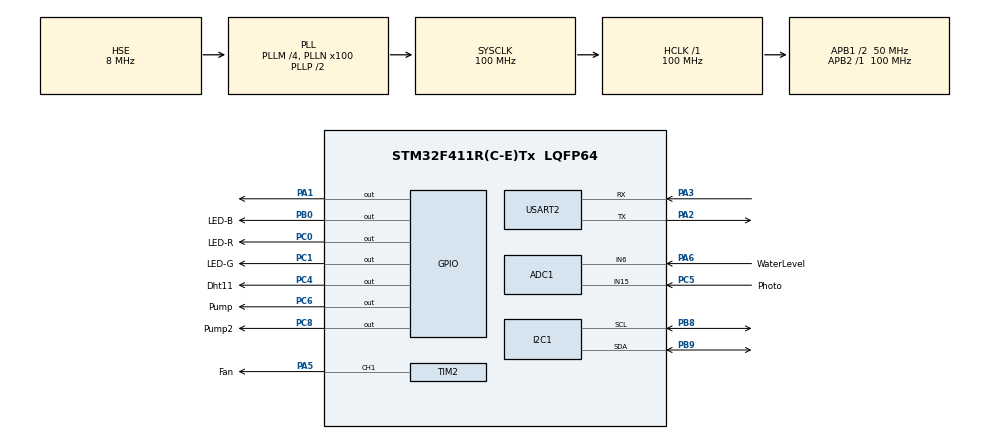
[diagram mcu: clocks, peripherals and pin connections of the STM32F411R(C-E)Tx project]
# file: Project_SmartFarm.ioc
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ADC1.Channel-1\#ChannelRegularConversion=ADC_CHANNEL_15
ADC1.Channel-2\#ChannelRegularConversion=ADC_CHANNEL_6
ADC1.ContinuousConvMode=ENABLE
ADC1.DMAContinuousRequests=ENABLE
ADC1.NbrOfConversion=2
ADC1.NbrOfConversionFlag=1
ADC1.Rank-1\#ChannelRegularConversion=1
ADC1.Rank-2\#ChannelRegularConversion=2
ADC1.SamplingTime-1\#ChannelRegularConversion=ADC_SAMPLETIME_144CYCLES
ADC1.SamplingTime-2\#ChannelRegularConversion=ADC_SAMPLETIME_144CYCLES
ADC1.master=1
Dma.ADC1.0.Direction=DMA_PERIPH_TO_MEMORY
Dma.ADC1.0.FIFOMode=DMA_FIFOMODE_DISABLE
Dma.ADC1.0.Instance=DMA2_Stream0
Dma.ADC1.0.MemDataAlignment=DMA_MDATAALIGN_HALFWORD
Dma.ADC1.0.MemInc=DMA_MINC_ENABLE
Dma.ADC1.0.Mode=DMA_NORMAL
Dma.ADC1.0.PeriphDataAlignment=DMA_PDATAALIGN_HALFWORD
Dma.ADC1.0.PeriphInc=DMA_PINC_DISABLE
Dma.ADC1.0.Priority=DMA_PRIORITY_LOW
Dma.Request0=ADC1
Mcu.Family=STM32F4
Mcu.Name=STM32F411R(C-E)Tx
Mcu.Package=LQFP64
NVIC.ADC_IRQn=true\:2\:0\:true\:false\:true\:true\:true\:true
NVIC.DMA2_Stream0_IRQn=true\:0\:0\:false\:false\:true\:false\:true\:true
NVIC.PriorityGroup=NVIC_PRIORITYGROUP_4
NVIC.TIM3_IRQn=true\:14\:0\:true\:false\:true\:true\:true\:true
NVIC.USART2_IRQn=true\:0\:0\:false\:false\:true\:true\:true\:true
PA1.Signal=GPIO_Output
PA13.Mode=Serial_Wire
PA13.Signal=SYS_JTMS-SWDIO
PA14.Mode=Serial_Wire
PA14.Signal=SYS_JTCK-SWCLK
PA2.Mode=Asynchronous
PA2.Signal=USART2_TX
PA3.Mode=Asynchronous
PA3.Signal=USART2_RX
PA5.GPIO_Label=Fan
PA5.GPIO_Speed=GPIO_SPEED_FREQ_HIGH
PA5.Signal=S_TIM2_CH1_ETR
PA6.GPIO_Label=WaterLevel
PA6.Signal=ADCx_IN6
PB0.GPIO_Label=LED-B
PB0.Signal=GPIO_Output
PB8.Mode=I2C
PB8.Signal=I2C1_SCL
PB9.Mode=I2C
PB9.Signal=I2C1_SDA
PC0.GPIO_Label=LED-R
PC0.Signal=GPIO_Output
PC1.GPIO_Label=LED-G
PC1.Signal=GPIO_Output
PC4.GPIO_Label=Dht11
PC4.GPIO_Speed=GPIO_SPEED_FREQ_HIGH
PC4.Signal=GPIO_Output
PC5.GPIO_Label=Photo
PC5.Signal=ADCx_IN15
PC6.GPIO_Label=Pump
PC6.Signal=GPIO_Output
PC8.GPIO_Label=Pump2
PC8.Signal=GPIO_Output
PH0\ -\ OSC_IN.Mode=HSE-External-Oscillator
PH0\ -\ OSC_IN.Signal=RCC_OSC_IN
PH1\ -\ OSC_OUT.Mode=HSE-External-Oscillator
PH1\ -\ OSC_OUT.Signal=RCC_OSC_OUT
ProjectManager.HeapSize=0x200
ProjectManager.StackSize=0x400
ProjectManager.TargetToolchain=STM32CubeIDE
RCC.48MHZClocksFreq_Value=50000000
RCC.AHBFreq_Value=100000000
RCC.APB1CLKDivider=RCC_HCLK_DIV2
RCC.APB1Freq_Value=50000000
RCC.APB1TimFreq_Value=100000000
RCC.APB2Freq_Value=100000000
RCC.APB2TimFreq_Value=100000000
RCC.CortexFreq_Value=100000000
RCC.HCLKFreq_Value=100000000
RCC.HSE_VALUE=8000000
RCC.HSI_VALUE=16000000
RCC.LSE_VALUE=32768
RCC.PLLM=4
RCC.PLLN=100
RCC.PLLSourceVirtual=RCC_PLLSOURCE_HSE
RCC.RCC_RTC_Clock_Source=RCC_RTCCLKSOURCE_LSI
RCC.RCC_RTC_Clock_SourceVirtual=RCC_RTCCLKSOURCE_LSI
RCC.SYSCLKFreq_VALUE=100000000
RCC.SYSCLKSource=RCC_SYSCLKSOURCE_PLLCLK
RCC.VCOOutputFreq_Value=200000000
SH.ADCx_IN15.0=ADC1_IN15,IN15
SH.ADCx_IN6.0=ADC1_IN6,IN6
SH.S_TIM2_CH1_ETR.0=TIM2_CH1,PWM Generation1 CH1
TIM11.Prescaler=100-1
TIM2.Channel-PWM\ Generation1\ CH1=TIM_CHANNEL_1
TIM2.Period=65535
TIM2.Prescaler=0
TIM3.Period=10000-1
TIM3.Prescaler=10000-1
USART2.VirtualMode=VM_ASYNC
VP_TIM11_VS_ClockSourceINT.Mode=Enable_Timer
VP_TIM2_VS_ClockSourceINT.Mode=Internal
VP_TIM3_VS_ClockSourceINT.Mode=Internal
board=custom

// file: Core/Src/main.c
/* USER CODE BEGIN Header */
/**
 ******************************************************************************
 * @file           : main.c
 * @brief          : Main program body
 ******************************************************************************
 * @attention
 *
 * Copyright (c) 2025 STMicroelectronics.
 * All rights reserved.
 *
 * This software is licensed under terms that can be found in the LICENSE file
 * in the root directory of this software component.
 * If no LICENSE file comes with this software, it is provided AS-IS.
 *
 ******************************************************************************
 */
/* USER CODE END Header */
#include "main.h"
#include "adc.h"
#include "dma.h"
#include "i2c.h"
#include "tim.h"
#include "usart.h"
#include "gpio.h"

/* USER CODE BEGIN Includes */

#include "dht.h"
#include "I2C_LCD.h"

/* USER CODE END Includes */

/* USER CODE BEGIN PD */

#ifdef __GNUC__
/* With GCC, small printf (option LD Linker->Libraries->Small printf
     set to 'Yes') calls __io_putchar() */
#define PUTCHAR_PROTOTYPE int __io_putchar(int ch)
#else
#define PUTCHAR_PROTOTYPE int fputc(int ch, FILE *f)
#endif /* __GNUC__ */
PUTCHAR_PROTOTYPE
{
  /* Place your implementation of fputc here */
  /* e.g. write a character to the EVAL_COM1 and Loop until the end of transmission */
  HAL_UART_Transmit(&huart2, (uint8_t *)&ch, 1, 0xFFFF);

  return ch;
}

/* USER CODE END PD */

/* USER CODE BEGIN PV */

DHT11 dht;
char lcdBuffer[16];
volatile uint16_t adcValue[2];

#define Light       (adcValue[0])
#define WaterLevel  (adcValue[1])

// 물 수위 설정 전 코드
// volatile uint16_t adcValue;
// volatile uint16_t adcValue2;

uint8_t adcFlag = 0;
uint8_t rxData;
uint64_t WaterPumpCounter = 0;

/* USER CODE END PV */

void SystemClock_Config(void);
/* USER CODE BEGIN PFP */

void updateLCD(void)
{
  lcdCommand(CLEAR_DISPLAY);
  HAL_Delay(2);  // Clear 명령 후 잠시 대기

  // 첫 번째 줄: 온도와 습도
  sprintf(lcdBuffer, "T:%dC H:%d%%", dht.temperature, dht.humidity);
  moveCursor(0, 0);
  lcdString(lcdBuffer);
  HAL_Delay(1);

  // 두 번째 줄: 조도값
  sprintf(lcdBuffer, "Light:%d", Light); // 값바꿔줌
  moveCursor(1, 0);
  lcdString(lcdBuffer);
}

void DHT_Reset(); // 온습도 사이클 조정
void DHT_Reset()
{
  dht11GpioMode(&dht, OUTPUT);
  HAL_GPIO_WritePin(dht.port, dht.pin, GPIO_PIN_SET);
}

// ADC 변환 완료 콜백
void HAL_ADC_ConvCpltCallback(ADC_HandleTypeDef* hadc)
{
  if(hadc->Instance == ADC1)
  {
    adcFlag = 1;  // ADC 변환 완료 플래그 설정
  }
}

void HAL_UART_RxCpltCallback(UART_HandleTypeDef *huart)
{
  if(huart->Instance == USART2)
  {
    //HAL_UART_Receive_IT(&huart2, &rxData, sizeof(rxData));
    //HAL_UART_Transmit_IT(&huart2, &rxData, sizeof(rxData));

    if(rxData == 'L')
    {
      HAL_GPIO_WritePin(LED_R_GPIO_Port, LED_R_Pin, 1);
      HAL_GPIO_WritePin(LED_G_GPIO_Port, LED_G_Pin, 1);
      HAL_GPIO_WritePin(LED_B_GPIO_Port, LED_B_Pin, 1);
    }

    if(rxData == 'l')
    {
      HAL_GPIO_WritePin(LED_R_GPIO_Port, LED_R_Pin, 0);
      HAL_GPIO_WritePin(LED_G_GPIO_Port, LED_G_Pin, 0);
      HAL_GPIO_WritePin(LED_B_GPIO_Port, LED_B_Pin, 0);
    }

    if(rxData == 'P')
    {
      HAL_GPIO_WritePin(Pump_GPIO_Port, Pump_Pin, 1);
      HAL_GPIO_WritePin(Pump2_GPIO_Port, Pump2_Pin, 0);
//      HAL_TIM_Base_Start_IT(&htim3);
    }

    if(rxData == 'p')
    {
//      __HAL_TIM_SET_COUNTER(&htim3, 0);
//      HAL_TIM_Base_Stop_IT(&htim3);
      HAL_GPIO_WritePin(Pump_GPIO_Port, Pump_Pin, 0);
      HAL_GPIO_WritePin(Pump2_GPIO_Port, Pump2_Pin, 0);
    }

    if(rxData == 'F')
    {
      TIM2->CCR1 = 65535;
    }

    if(rxData == 'f')
    {
      TIM2->CCR1 = 0;
    }

    if(rxData == 'E')
    {
      HAL_GPIO_WritePin(LED_R_GPIO_Port, LED_R_Pin, 1);
      HAL_GPIO_WritePin(LED_G_GPIO_Port, LED_G_Pin, 0);
      HAL_GPIO_WritePin(LED_B_GPIO_Port, LED_B_Pin, 0);
    }

    HAL_UART_Receive_IT(&huart2, &rxData, sizeof(rxData));
  }
}

//  void HAL_TIM_PeriodElapsedCallback(TIM_HandleTypeDef *htim)
//  {
//    if (htim->Instance == TIM3)//모터 회전하라는 타이머 플레그가 세워지면
//    {
//
//      if(WaterPumpCounter >= 3)
//      {
//        WaterPumpCounter = 0;
//        __HAL_TIM_SET_COUNTER(&htim3, 0);
//        HAL_TIM_Base_Stop_IT(&htim3);
//        HAL_GPIO_WritePin(Pump_GPIO_Port, Pump_Pin, 0);
//      }
//      WaterPumpCounter++;
//    }
//  }

/* USER CODE END PFP */

int main(void)
{

  /* MCU Configuration--------------------------------------------------------*/

  /* Reset of all peripherals, Initializes the Flash interface and the Systick. */
  HAL_Init();

  /* Configure the system clock */
  SystemClock_Config();

  /* Initialize all configured peripherals */
  MX_GPIO_Init();
  MX_DMA_Init();
  MX_USART2_UART_Init();
  MX_ADC1_Init();
  MX_I2C1_Init();
  MX_TIM2_Init();
  MX_TIM11_Init();
  MX_TIM3_Init();
  /* USER CODE BEGIN 2 */
    // 마이크로초 타이머 시작
    //  HAL_TIM_Base_Start(&htim11);
    //  HAL_Delay(100);  // 타이머 안정화 대기

    // LCD 초기화 전 충분한 대기시간
    //HAL_Delay(1000);
    lcdInit();
    HAL_Delay(200);
    // LCD 초기화 후 충분히 대기

    // LCD 테스트
    lcdCommand(CLEAR_DISPLAY);
    HAL_Delay(2);
    moveCursor(0, 0);
    lcdString("System Start...");
    HAL_Delay(1000); // 딜레이 빼면 안됨..

    // 온습도센서 Init , 초기화 및 GPIO 설정
    dht11Init(&dht, GPIOC, GPIO_PIN_4);

    // ADC로 저항값을 DMA로 받기위한 대기상태
    HAL_ADC_Start_DMA(&hadc1, (uint32_t *)adcValue, 2);
    //HAL_ADC_Start_DMA(&hadc1, (uint32_t*)&adcValue, 1);

    // 유아트 대기상태 ( 버튼 클릭시 유아트 필요 )
    HAL_UART_Receive_IT(&huart2, &rxData, sizeof(rxData));

    // TIM3 PWM 시작 (DC 팬 모터용)
    HAL_TIM_PWM_Start(&htim2, TIM_CHANNEL_1);

    // __HAL_TIM_SET_COMPARE(&htim2, TIM_CHANNEL_1, 60000);

    // printf("adcValue1 -> %d\r\n", adcValue[0]);
    // printf("adcvalue2 -> %d\r\n\n", adcValue[1]);

  /* USER CODE END 2 */

  /* Infinite loop */
  /* USER CODE BEGIN WHILE */

    dht11GpioMode(&dht, OUTPUT);
    HAL_GPIO_WritePin(dht.port, dht.pin, GPIO_PIN_SET);
    HAL_Delay(1000); // DHT11 안정화 대기

    while (1)
    {
      // DHT11 데이터 읽기 시도
      if(dht11Read(&dht))
      {
        // UART로 온습도와 조도값 전송
        printf("%d, %d, %d\n",
               dht.temperature,
               dht.humidity,
               Light);

        // LCD 업데이트
        updateLCD();
//        if(dht.temperature > 28)
//        {
//          TIM2->CCR1 = 65535;
//        }
//
//
//        if (Light < 1000)
//        {
//          HAL_GPIO_WritePin(LED_B_GPIO_Port, LED_B_Pin, 1);
//
//          HAL_GPIO_WritePin(Pump_GPIO_Port, Pump_Pin, 1);
//          HAL_TIM_Base_Start_IT(&htim3);
//
//        }
        // 온습도 측정 포트설정 리셋
        DHT_Reset();
        HAL_Delay(2000);  // 2초 주기로 반복
        // ADC로 저항값을 DMA로 '다시' 받기위한 대기상태
        HAL_ADC_Start_DMA(&hadc1, (uint32_t *)adcValue, 2);
        //HAL_ADC_Start_DMA(&hadc1, (uint32_t*)&adcValue, 1);
      }

      else
      {
        printf("DHT11 Read Failed\r\n");
        // DHT11 리셋을 위한 처리
        DHT_Reset();
        HAL_Delay(1000);
      }

    /* USER CODE END WHILE */

    }
}

void SystemClock_Config(void)
{
  RCC_OscInitTypeDef RCC_OscInitStruct = {0};
  RCC_ClkInitTypeDef RCC_ClkInitStruct = {0};

  /** Configure the main internal regulator output voltage
  */
  __HAL_RCC_PWR_CLK_ENABLE();
  __HAL_PWR_VOLTAGESCALING_CONFIG(PWR_REGULATOR_VOLTAGE_SCALE1);

  /** Initializes the RCC Oscillators according to the specified parameters
  * in the RCC_OscInitTypeDef structure.
  */
  RCC_OscInitStruct.OscillatorType = RCC_OSCILLATORTYPE_HSE;
  RCC_OscInitStruct.HSEState = RCC_HSE_ON;
  RCC_OscInitStruct.PLL.PLLState = RCC_PLL_ON;
  RCC_OscInitStruct.PLL.PLLSource = RCC_PLLSOURCE_HSE;
  RCC_OscInitStruct.PLL.PLLM = 4;
  RCC_OscInitStruct.PLL.PLLN = 100;
  RCC_OscInitStruct.PLL.PLLP = RCC_PLLP_DIV2;
  RCC_OscInitStruct.PLL.PLLQ = 4;
  if (HAL_RCC_OscConfig(&RCC_OscInitStruct) != HAL_OK)
  {
    Error_Handler();
  }

  /** Initializes the CPU, AHB and APB buses clocks
  */
  RCC_ClkInitStruct.ClockType = RCC_CLOCKTYPE_HCLK|RCC_CLOCKTYPE_SYSCLK
                              |RCC_CLOCKTYPE_PCLK1|RCC_CLOCKTYPE_PCLK2;
  RCC_ClkInitStruct.SYSCLKSource = RCC_SYSCLKSOURCE_PLLCLK;
  RCC_ClkInitStruct.AHBCLKDivider = RCC_SYSCLK_DIV1;
  RCC_ClkInitStruct.APB1CLKDivider = RCC_HCLK_DIV2;
  RCC_ClkInitStruct.APB2CLKDivider = RCC_HCLK_DIV1;

  if (HAL_RCC_ClockConfig(&RCC_ClkInitStruct, FLASH_LATENCY_3) != HAL_OK)
  {
    Error_Handler();
  }
}

void Error_Handler(void)
{
    __disable_irq();
    while (1)
    {
    }
}
